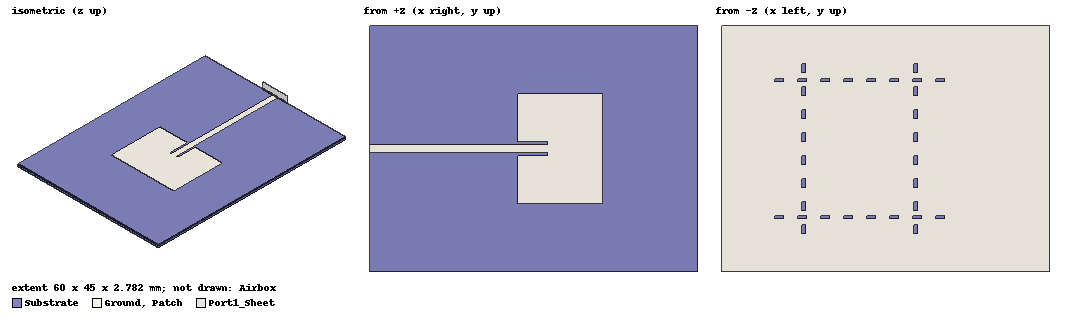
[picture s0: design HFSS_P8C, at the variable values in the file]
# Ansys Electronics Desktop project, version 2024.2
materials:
  vacuum: permittivity=1
  RO4350B: permittivity=3.48 permeability=1 dielectric_loss_tangent=0.0037
  pec: conductivity=1e+30
  air: permittivity=1.0006 permeability=1.0000004

design HFSS_P8C (HFSS, HFSS Terminal Network, model units mm)
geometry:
  Substrate [RO4350B] = box(corner=(-30mm, -22.5mm, 0mm), size=(60mm, 45mm, 0.762mm))
  Ground [pec] = rectangle(corner=(-30mm, -22.5mm, 0mm), x_size=60mm, y_size=45mm)
  Patch [pec] = rectangle(corner=(-2.99995mm, -10.01535mm, 0.762mm), x_size=15.5383mm, y_size=20.0307mm)
  Feed = rectangle(corner=(-30mm, -0.7991mm, 0.762mm), x_size=32.58775mm, y_size=1.5982mm)
  Patch.unite(Feed)
  TopCut_0_inset_gap_top = rectangle(corner=(-2.99995mm, 0.7991mm, 0.762mm), x_size=5.5877mm, y_size=0.4795mm)
  TopCut_1_inset_gap_bottom = rectangle(corner=(-2.99995mm, -1.2786mm, 0.762mm), x_size=5.5877mm, y_size=0.4795mm)
  Patch.subtract(TopCut_0_inset_gap_top, TopCut_1_inset_gap_bottom)
  GroundCut_0_ebg_0 = rectangle(corner=(-10.731639mm, -12.843454mm, 0mm), x_size=1.5643179mm, y_size=0.65620726mm)
  GroundCut_1_ebg_1 = rectangle(corner=(-6.5263016mm, -12.843454mm, 0mm), x_size=1.5643179mm, y_size=0.65620726mm)
  GroundCut_2_ebg_2 = rectangle(corner=(-2.3209645mm, -12.843454mm, 0mm), x_size=1.5643179mm, y_size=0.65620726mm)
  GroundCut_3_ebg_3 = rectangle(corner=(1.8843725mm, -12.843454mm, 0mm), x_size=1.5643179mm, y_size=0.65620726mm)
  GroundCut_4_ebg_4 = rectangle(corner=(6.0897095mm, -12.843454mm, 0mm), x_size=1.5643179mm, y_size=0.65620726mm)
  GroundCut_5_ebg_5 = rectangle(corner=(10.295047mm, -12.843454mm, 0mm), x_size=1.5643179mm, y_size=0.65620726mm)
  GroundCut_6_ebg_6 = rectangle(corner=(14.500384mm, -12.843454mm, 0mm), x_size=1.5643179mm, y_size=0.65620726mm)
  GroundCut_7_ebg_7 = rectangle(corner=(18.705721mm, -12.843454mm, 0mm), x_size=1.5643179mm, y_size=0.65620726mm)
  GroundCut_8_ebg_8 = rectangle(corner=(-10.731639mm, 12.187246mm, 0mm), x_size=1.5643179mm, y_size=0.65620726mm)
  GroundCut_9_ebg_9 = rectangle(corner=(-6.5263016mm, 12.187246mm, 0mm), x_size=1.5643179mm, y_size=0.65620726mm)
  GroundCut_10_ebg_10 = rectangle(corner=(-2.3209645mm, 12.187246mm, 0mm), x_size=1.5643179mm, y_size=0.65620726mm)
  GroundCut_11_ebg_11 = rectangle(corner=(1.8843725mm, 12.187246mm, 0mm), x_size=1.5643179mm, y_size=0.65620726mm)
  GroundCut_12_ebg_12 = rectangle(corner=(6.0897095mm, 12.187246mm, 0mm), x_size=1.5643179mm, y_size=0.65620726mm)
  GroundCut_13_ebg_13 = rectangle(corner=(10.295047mm, 12.187246mm, 0mm), x_size=1.5643179mm, y_size=0.65620726mm)
  GroundCut_14_ebg_14 = rectangle(corner=(14.500384mm, 12.187246mm, 0mm), x_size=1.5643179mm, y_size=0.65620726mm)
  GroundCut_15_ebg_15 = rectangle(corner=(18.705721mm, 12.187246mm, 0mm), x_size=1.5643179mm, y_size=0.65620726mm)
  GroundCut_16_ebg_16 = rectangle(corner=(-5.8280536mm, -15.500839mm, 0mm), x_size=0.65620726mm, y_size=1.5643179mm)
  GroundCut_17_ebg_17 = rectangle(corner=(-5.8280536mm, -11.295502mm, 0mm), x_size=0.65620726mm, y_size=1.5643179mm)
  GroundCut_18_ebg_18 = rectangle(corner=(-5.8280536mm, -7.0901645mm, 0mm), x_size=0.65620726mm, y_size=1.5643179mm)
  GroundCut_19_ebg_19 = rectangle(corner=(-5.8280536mm, -2.8848275mm, 0mm), x_size=0.65620726mm, y_size=1.5643179mm)
  GroundCut_20_ebg_20 = rectangle(corner=(-5.8280536mm, 1.3205095mm, 0mm), x_size=0.65620726mm, y_size=1.5643179mm)
  GroundCut_21_ebg_21 = rectangle(corner=(-5.8280536mm, 5.5258466mm, 0mm), x_size=0.65620726mm, y_size=1.5643179mm)
  GroundCut_22_ebg_22 = rectangle(corner=(-5.8280536mm, 9.7311836mm, 0mm), x_size=0.65620726mm, y_size=1.5643179mm)
  GroundCut_23_ebg_23 = rectangle(corner=(-5.8280536mm, 13.936521mm, 0mm), x_size=0.65620726mm, y_size=1.5643179mm)
  GroundCut_24_ebg_24 = rectangle(corner=(14.710246mm, -15.500839mm, 0mm), x_size=0.65620726mm, y_size=1.5643179mm)
  GroundCut_25_ebg_25 = rectangle(corner=(14.710246mm, -11.295502mm, 0mm), x_size=0.65620726mm, y_size=1.5643179mm)
  GroundCut_26_ebg_26 = rectangle(corner=(14.710246mm, -7.0901645mm, 0mm), x_size=0.65620726mm, y_size=1.5643179mm)
  GroundCut_27_ebg_27 = rectangle(corner=(14.710246mm, -2.8848275mm, 0mm), x_size=0.65620726mm, y_size=1.5643179mm)
  GroundCut_28_ebg_28 = rectangle(corner=(14.710246mm, 1.3205095mm, 0mm), x_size=0.65620726mm, y_size=1.5643179mm)
  GroundCut_29_ebg_29 = rectangle(corner=(14.710246mm, 5.5258466mm, 0mm), x_size=0.65620726mm, y_size=1.5643179mm)
  GroundCut_30_ebg_30 = rectangle(corner=(14.710246mm, 9.7311836mm, 0mm), x_size=0.65620726mm, y_size=1.5643179mm)
  GroundCut_31_ebg_31 = rectangle(corner=(14.710246mm, 13.936521mm, 0mm), x_size=0.65620726mm, y_size=1.5643179mm)
  Ground.subtract(GroundCut_0_ebg_0, GroundCut_1_ebg_1, GroundCut_2_ebg_2, GroundCut_3_ebg_3, GroundCut_4_ebg_4, GroundCut_5_ebg_5, GroundCut_6_ebg_6, GroundCut_7_ebg_7, GroundCut_8_ebg_8, GroundCut_9_ebg_9, GroundCut_10_ebg_10, GroundCut_11_ebg_11, GroundCut_12_ebg_12, GroundCut_13_ebg_13, GroundCut_14_ebg_14, GroundCut_15_ebg_15, GroundCut_16_ebg_16, GroundCut_17_ebg_17, GroundCut_18_ebg_18, GroundCut_19_ebg_19, GroundCut_20_ebg_20, GroundCut_21_ebg_21, GroundCut_22_ebg_22, GroundCut_23_ebg_23, GroundCut_24_ebg_24, GroundCut_25_ebg_25, GroundCut_26_ebg_26, GroundCut_27_ebg_27, GroundCut_28_ebg_28, GroundCut_29_ebg_29, GroundCut_30_ebg_30, GroundCut_31_ebg_31)
  Airbox [air] = box(corner=(-30mm, -42.5mm, -20mm), size=(80mm, 85mm, 40.762mm))
  Port1_Sheet = rectangle(corner=(-30mm, -3.9955mm, -0.02mm), y_size=7.991mm, z_size=2.782mm)
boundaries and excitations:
  Copper_PEC: Perfect E Objects=[Ground, Patch]
  Radiation: Radiation Objects=Airbox
  Port1: Wave Port Objects=Port1_Sheet WavePortType=Modal NumModes=1 Modes{Mode1{CharImp=Zpi RenormImp=50ohm}}
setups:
  Setup1: HfssDriven Frequency=5GHz MaxDeltaS=0.02 MaximumPasses=10 MinimumPasses=1 MinimumConvergedPasses=1 PercentRefinement=30 BasisOrder=1 PortAccuracy=2 DrivenSolverType="Direct Solver"
    sweep Sweep_4_6GHz: 4GHz to 6GHz, 101 points; Type=Interpolating SaveRadFields InterpTolerance=0.5 InterpMaxSolns=250 InterpUsePortImped=false PassivityErrorTolerance=0.0001
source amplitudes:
  Port1:1: 1V 0deg
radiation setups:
  InfiniteSphere_EH_Cuts: Infinite Sphere Theta=-180deg..180deg step 1deg Phi=-90deg..90deg step 90deg
